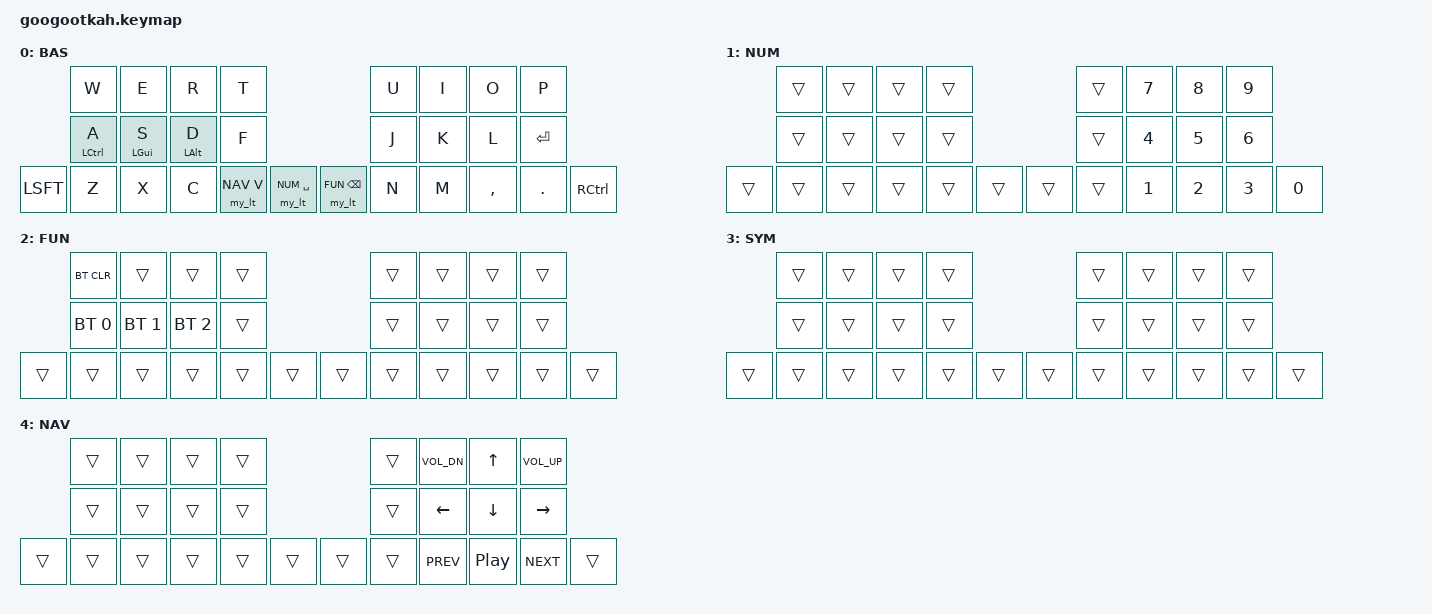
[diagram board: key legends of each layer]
// vim: set ft=dts:
#include <behaviors.dtsi>
#include <dt-bindings/zmk/bt.h>
#include <dt-bindings/zmk/keys.h>
#include <dt-bindings/zmk/outputs.h>

#define BAS 0
#define NUM 1
#define FUN 2
#define SYM 3
#define NAV 4

#define SCNSHT  LG(LS(S))
#define TSK_MGR LC(LS(ESC))

/ {
    keymap {
        compatible = "zmk,keymap";

        base_layer {
            label = "BAS";
            bindings = <
                            &kp W           &kp E           &kp R           &kp T           /*                              */      &kp U       &kp I       &kp O       &kp P   
                            &hl LCTRL A     &hl LGUI S      &hl LALT D      &kp F           /*                              */      &kp J       &kp K       &kp L       &kp ENTER   
            &kp LSFT        &kp Z           &kp X           &kp C           &my_lt NAV V    &my_lt NUM SPACE   &my_lt FUN BSPC      &kp N       &kp M       &kp COMMA   &kp DOT     &kp RCTL
            >;
        };

        number_layer {
            label = "NUM";
            bindings = <
                            &trans          &trans          &trans          &trans          /*                              */      &trans      &kp N7      &kp N8      &kp N9  
                            &trans          &trans          &trans          &trans          /*                              */      &trans      &kp N4      &kp N5      &kp N6  
                &trans      &trans          &trans          &trans          &trans          &trans                      &trans      &trans      &kp N1      &kp N2      &kp N3      &kp N0
            >;
        };

        function_layer {
            label = "FUN";
            bindings = <
                            &bt BT_CLR      &trans          &trans          &trans          /*                              */      &trans      &trans      &trans      &trans
                            &bt BT_SEL 0    &bt BT_SEL 1    &bt BT_SEL 2    &trans          /*                              */      &trans      &trans      &trans      &trans
                &trans      &trans          &trans          &trans          &trans          &trans                      &trans      &trans      &trans      &trans      &trans      &trans
            >;
        };

        symbol_layer {
            label = "SYM";
            bindings = <
                            &trans          &trans          &trans          &trans          /*                              */      &trans      &trans      &trans      &trans
                            &trans          &trans          &trans          &trans          /*                              */      &trans      &trans      &trans      &trans
                &trans      &trans          &trans          &trans          &trans          &trans                      &trans      &trans      &trans      &trans      &trans      &trans
            >;
        };

        navigation_layer {
            label = "NAV";
            bindings = <
                            &trans          &trans          &trans          &trans          /*                              */      &trans     &kp K_VOL_DN &kp UP      &kp K_VOL_UP 
                            &trans          &trans          &trans          &trans          /*                              */      &trans      &kp LEFT    &kp DOWN    &kp RIGHT
                &trans      &trans          &trans          &trans          &trans          &trans                      &trans      &trans      &kp K_PREV  &kp C_PP    &kp K_NEXT  &trans
            >;
        };
    };

    /*                KEY POSITIONS

           ╭──────────────╮          ╭──────────────╮ 
           │ 0   1   2   3│          │17  16  15  14│
      ╭────╯ 4   5   6   7╰────╮╭────╯21  20  19  18╰────╮
      │  8   9  10  11  12  13 ││ 27  26  25  24  23  22 │
      ╰────────────────────────╯╰────────────────────────╯
    */

    combos {
        compatible = "zmk,combos";

        #define COMBO(NAME, BINDINGS, KEYPOS, TIMEOUT, LAYERS) \
            combo_##NAME { \
                timeout-ms = <TIMEOUT>; \
                bindings = <BINDINGS>; \
                key-positions = <KEYPOS>; \
                layers = <LAYERS>; \
                slow-release; \
            };

        #define DEFAULT_TIME 64
        #define LONG_TIME    128

        #define ALL_LAYERS     BAS NUM FUN SYM
        #define DEFAULT_LAYERS BAS NUM FUN SYM
        #define NONBASE_LAYERS     NUM FUN SYM

        COMBO(z,    &kp Y,       4   5, DEFAULT_TIME, DEFAULT_LAYERS)
        COMBO(q,    &kp Q,       0   1, DEFAULT_TIME, DEFAULT_LAYERS)
        COMBO(g,    &kp G,      10  11, DEFAULT_TIME, DEFAULT_LAYERS)
        COMBO(h,    &kp H,      12  13, DEFAULT_TIME, DEFAULT_LAYERS)
        COMBO(b,    &kp B,      20  21, DEFAULT_TIME, DEFAULT_LAYERS)
        COMBO(tab,  &kp TAB,     8   9, DEFAULT_TIME, DEFAULT_LAYERS)
        COMBO(esc,  &kp ESC,     0   8, DEFAULT_TIME, DEFAULT_LAYERS)
    };

    behaviors {
        
        hl: homerow_mods_left {
            compatible = "zmk,behavior-hold-tap";
            label = "homerow mods left";
            #binding-cells = <2>;
            // flavor = "tap-preferred";
            flavor = "balanced";
            tapping-term-ms = <300>;
            quick-tap-ms = <200>;
            // global-quick-tap;
            bindings = <&kp>, <&kp>;
            // opposite side hand keys
            hold-trigger-key-positions = <4 5 6 7 13 14 15 16 17 21 22 23 24 25 26 27>;
        };
        hr: homerow_mods_right {
            compatible = "zmk,behavior-hold-tap";
            label = "homerow mods right";
            #binding-cells = <2>;
            // flavor = "tap-preferred";
            flavor = "balanced";
            tapping-term-ms = <300>;
            quick-tap-ms = <200>;
            // global-quick-tap;
            bindings = <&kp>, <&kp>;
            // opposite side hand keys
            hold-trigger-key-positions = <0 1 2 3 8 9 10 11 12 18 19 20 24 25 26 27>;
        };

        my_lt: my_layer_taps {
            compatible = "zmk,behavior-hold-tap";
            label = "my layer taps";
            #binding-cells = <2>;
            // flavor = "tap-preferred";
            flavor = "balanced";
            tapping-term-ms = <300>;
            quick-tap-ms = <200>;
            // global-quick-tap;
            bindings = <&mo &kp>, <&kp>;
            // non-thumb keys
            // hold-trigger-key-positions = <0 1 2 3 4 5 6 7 8 9 10 11 12 13 14 15 16 17 18 19 20 21 22 23>;
        };
    };
};

&sl { release-after-ms = <800>; no-sticky-after-hold-ms = <400>; };
&sk { release-after-ms = <800>; no-sticky-after-hold-ms = <400>; quick-release; };
&lt { flavor = "balanced"; tapping-term-ms = <222>; };
&caps_word { continue-list = <UNDERSCORE MINUS BSPC>; };

// Empty keymap
//        &trans &trans &trans &trans               &trans &trans &trans &trans
//        &trans &trans &trans &trans               &trans &trans &trans &trans
// &trans &trans &trans &trans &trans &trans &trans &trans &trans &trans &trans &trans &trans

